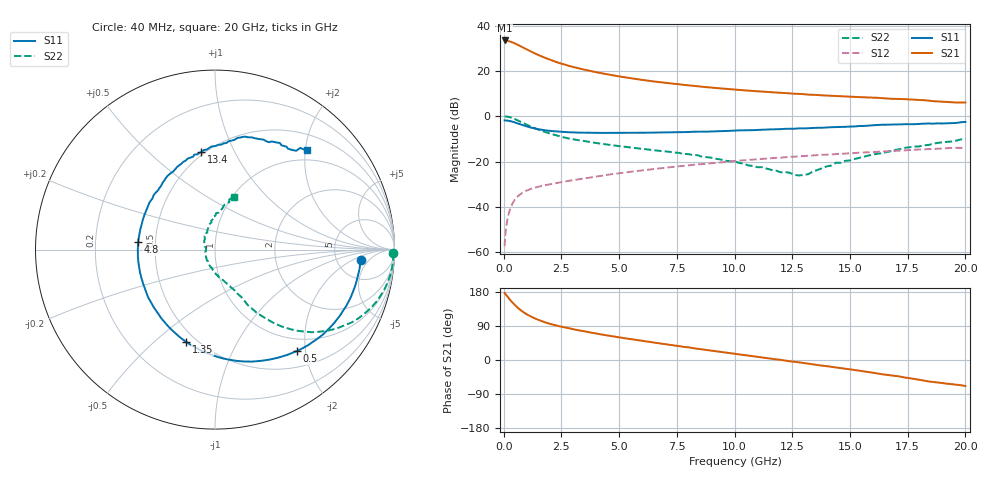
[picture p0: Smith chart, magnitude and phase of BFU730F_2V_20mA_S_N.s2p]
! Filename:  P:\Prog\Test\Noise\ATS_data\Testdata_Net\BFU730\BFU730_2W_B1_2V20mA_D.s2p
! Date/Time: Fri 29/Apr/2011 14:14:25
! BFU730_2W_B1_2V20mA
! bias mode 1: Vout= 2.0001 V, Iout=19.9700 mA, Vin= 0.8146 V, Iin= 0.0702 mA
! Date/time Thu Mar 17 12:54:20 2011
! Device data file deembeded for feedlines and parallel
! Original file: \BFU730\BFU730_2W_B1_2V20mA_R.s2p
! Feed-files: PR003V01_101208_Feed1.s2p, PR003V01_101208_Feed2.s2p
! Parallel-file: PR003V01_101208_Par.s2p
# MHz S MA R 50
!  Freq-MHz  S11-mag  S11-arg  S21-mag  S21-arg  S12-mag  S12-arg  S22-mag  S22-arg
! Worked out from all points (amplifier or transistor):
!   167 points, 40 MHz to 20 GHz, reference 50 ohm
!   highest |S21| = 33.5 dB at 50 MHz (marker M1)
!   |S21| within 3 dB of that: start of sweep to 819.1 MHz
!   unconditionally stable (mu >= 1): 4.409 GHz to 15.62 GHz
!   at 550 MHz: K = 0.21, MSG = 34.0 dB, |S12| = -36.0 dB
!   at 4.2 GHz: K = 0.99, MSG = 22.7 dB, |S12| = -26.3 dB
!   at 20 GHz: K = 0.87, MSG = 10.0 dB, |S12| = -13.9 dB
!   lowest NFmin = 0.80 dB at 550 MHz
!   S11 on the Smith chart (normalised r, x): 40 MHz: 8.59, -3.07; 500 MHz: 0.77, -1.83; 1.35 GHz: 0.44, -0.64; 4.8 GHz: 0.40, +0.04; 13.4 GHz: 0.48, +0.75; 20 GHz: 0.80, +2.03
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40  0.8132 -4.3  47.17 177.0  0.001355 86.0  0.9909 -1.2
50  0.8125 -5.5  47.3 175.7  0.001692 100.5  0.991 -2.2
70  0.8125 -7.4  46.91 174.7  0.002325 86.5  0.994 -3.5
140  0.8063 -15.0  46.6 169.1  0.004607 83.4  0.9872 -8.2
280  0.7832 -29.9  44.76 158.6  0.008962 76.7  0.9522 -16.6
400  0.754 -41.9  42.58 150.3  0.01233 70.9  0.906 -23.1
500  0.7256 -51.2  40.4 144.1  0.01472 66.8  0.8627 -28.1
650  0.683 -63.9  37.09 135.7  0.01782 61.6  0.7935 -34.1
750  0.6571 -71.7  34.92 130.8  0.01951 59.0  0.749 -37.5
900  0.6196 -82.3  31.83 124.4  0.02169 55.5  0.6872 -41.8
1100  0.5788 -94.4  28.23 117.2  0.0241 52.3  0.6166 -46.2
1350  0.5384 -107.4  24.5 109.8  0.02653 49.6  0.5438 -50.3
1700  0.499 -122.0  20.47 101.4  0.0294 47.5  0.4671 -54.0
2100  0.4709 -135.2  17.05 93.8  0.03233 46.4  0.4028 -57.3
2700  0.4475 -150.8  13.55 85.2  0.03675 45.7  0.3332 -60.0
3400  0.4356 -164.4  10.99 76.6  0.04201 45.3  0.2879 -62.1
4800  0.4304 174.3  7.918 61.7  0.05362 43.4  0.2271 -67.3
6800  0.4395 151.9  5.646 43.5  0.07114 38.0  0.1719 -76.3
10200  0.489 122.4  3.841 14.8  0.1047 24.5  0.09313 -109.0
13400  0.55 98.0  2.99 -11.5  0.1371 7.6  0.06036 162.7
16800  0.658 71.9  2.439 -40.6  0.1706 -11.9  0.1708 93.3
20000  0.7519 47.3  2.018 -68.6  0.2024 -33.0  0.3128 70.0
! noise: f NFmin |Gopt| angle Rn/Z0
400  0.8038  0.09776  8.32  0.1068
850  0.8036  0.09172  21.77  0.109
1500  0.8068  0.0853  39.85  0.1106
2150  0.8138  0.07914  57.16  0.1107
3100  0.8312  0.06974  84.82  0.1087
4400  0.8686  0.06845  133.3  0.1038
6400  0.9568  0.1249  189.7  0.0976
8800  1.112  0.2285  218.9  0.105
1.14e+04  1.34  0.3186  241.7  0.1512
1.4e+04  1.631  0.3758  272  0.2591
